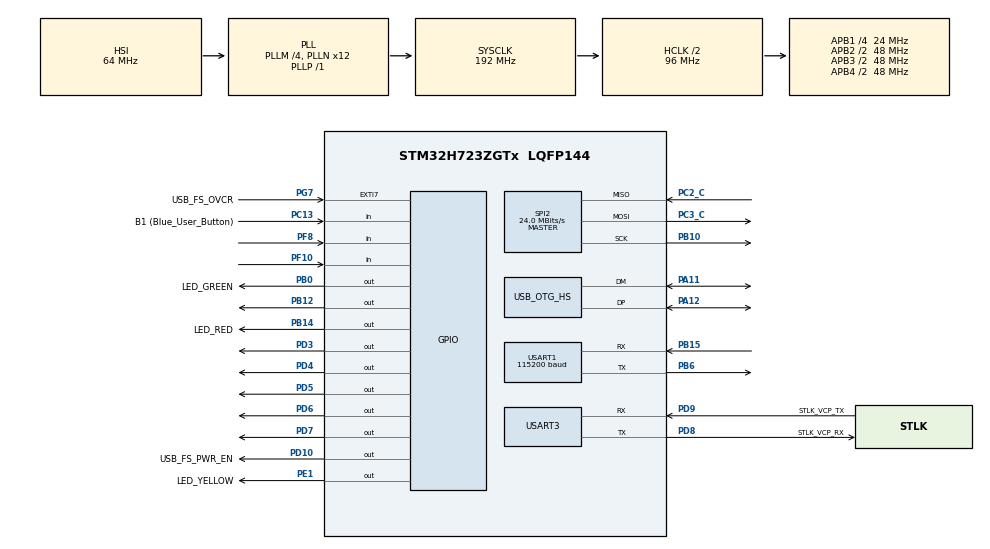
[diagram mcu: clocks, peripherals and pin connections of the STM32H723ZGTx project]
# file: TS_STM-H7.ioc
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Dma.Request0=USART1_RX
Dma.Request1=USART1_TX
Dma.Request2=SPI2_RX
Dma.SPI2_RX.2.Direction=DMA_PERIPH_TO_MEMORY
Dma.SPI2_RX.2.EventEnable=DISABLE
Dma.SPI2_RX.2.FIFOMode=DMA_FIFOMODE_ENABLE
Dma.SPI2_RX.2.FIFOThreshold=DMA_FIFO_THRESHOLD_FULL
Dma.SPI2_RX.2.Instance=DMA1_Stream2
Dma.SPI2_RX.2.MemBurst=DMA_MBURST_SINGLE
Dma.SPI2_RX.2.MemDataAlignment=DMA_MDATAALIGN_BYTE
Dma.SPI2_RX.2.MemInc=DMA_MINC_ENABLE
Dma.SPI2_RX.2.Mode=DMA_CIRCULAR
Dma.SPI2_RX.2.PeriphBurst=DMA_PBURST_SINGLE
Dma.SPI2_RX.2.PeriphDataAlignment=DMA_PDATAALIGN_BYTE
Dma.SPI2_RX.2.PeriphInc=DMA_PINC_DISABLE
Dma.SPI2_RX.2.Polarity=HAL_DMAMUX_REQ_GEN_RISING
Dma.SPI2_RX.2.Priority=DMA_PRIORITY_LOW
Dma.SPI2_RX.2.RequestNumber=1
Dma.SPI2_RX.2.SignalID=NONE
Dma.SPI2_RX.2.SyncEnable=DISABLE
Dma.SPI2_RX.2.SyncPolarity=HAL_DMAMUX_SYNC_NO_EVENT
Dma.SPI2_RX.2.SyncRequestNumber=1
Dma.SPI2_RX.2.SyncSignalID=NONE
Dma.USART1_RX.0.Direction=DMA_PERIPH_TO_MEMORY
Dma.USART1_RX.0.EventEnable=DISABLE
Dma.USART1_RX.0.FIFOMode=DMA_FIFOMODE_DISABLE
Dma.USART1_RX.0.Instance=DMA1_Stream0
Dma.USART1_RX.0.MemDataAlignment=DMA_MDATAALIGN_BYTE
Dma.USART1_RX.0.MemInc=DMA_MINC_ENABLE
Dma.USART1_RX.0.Mode=DMA_NORMAL
Dma.USART1_RX.0.PeriphDataAlignment=DMA_PDATAALIGN_BYTE
Dma.USART1_RX.0.PeriphInc=DMA_PINC_DISABLE
Dma.USART1_RX.0.Polarity=HAL_DMAMUX_REQ_GEN_RISING
Dma.USART1_RX.0.Priority=DMA_PRIORITY_HIGH
Dma.USART1_RX.0.RequestNumber=1
Dma.USART1_RX.0.SignalID=NONE
Dma.USART1_RX.0.SyncEnable=DISABLE
Dma.USART1_RX.0.SyncPolarity=HAL_DMAMUX_SYNC_NO_EVENT
Dma.USART1_RX.0.SyncRequestNumber=1
Dma.USART1_RX.0.SyncSignalID=NONE
Dma.USART1_TX.1.Direction=DMA_MEMORY_TO_PERIPH
Dma.USART1_TX.1.EventEnable=DISABLE
Dma.USART1_TX.1.FIFOMode=DMA_FIFOMODE_DISABLE
Dma.USART1_TX.1.Instance=DMA1_Stream1
Dma.USART1_TX.1.MemDataAlignment=DMA_MDATAALIGN_BYTE
Dma.USART1_TX.1.MemInc=DMA_MINC_ENABLE
Dma.USART1_TX.1.Mode=DMA_NORMAL
Dma.USART1_TX.1.PeriphDataAlignment=DMA_PDATAALIGN_BYTE
Dma.USART1_TX.1.PeriphInc=DMA_PINC_DISABLE
Dma.USART1_TX.1.Polarity=HAL_DMAMUX_REQ_GEN_RISING
Dma.USART1_TX.1.Priority=DMA_PRIORITY_LOW
Dma.USART1_TX.1.RequestNumber=1
Dma.USART1_TX.1.SignalID=NONE
Dma.USART1_TX.1.SyncEnable=DISABLE
Dma.USART1_TX.1.SyncPolarity=HAL_DMAMUX_SYNC_NO_EVENT
Dma.USART1_TX.1.SyncRequestNumber=1
Dma.USART1_TX.1.SyncSignalID=NONE
FATFS._MAX_SS=4096
FATFS._USE_LFN=1
Mcu.Family=STM32H7
Mcu.Name=STM32H723ZGTx
Mcu.Package=LQFP144
NVIC.DMA1_Stream0_IRQn=true\:0\:0\:false\:false\:true\:false\:true\:true
NVIC.DMA1_Stream1_IRQn=true\:0\:0\:false\:false\:true\:false\:true\:true
NVIC.DMA1_Stream2_IRQn=true\:0\:0\:false\:false\:true\:false\:true\:true
NVIC.OTG_HS_IRQn=true\:0\:0\:false\:false\:true\:false\:true\:true
NVIC.PriorityGroup=NVIC_PRIORITYGROUP_4
NVIC.SPI2_IRQn=true\:0\:0\:false\:false\:true\:false\:true\:true
NVIC.TIM16_IRQn=true\:0\:0\:false\:false\:true\:true\:true\:true
NVIC.USART1_IRQn=true\:0\:0\:false\:false\:true\:true\:true\:true
PA1.GPIO_Label=RMII_REF_CLK
PA1.Signal=ETH_REF_CLK
PA10.GPIO_Label=USB_FS_ID
PA10.Signal=USB_OTG_HS_ID
PA11.Mode=Device_Only_FS
PA11.Signal=USB_OTG_HS_DM
PA12.Mode=Device_Only_FS
PA12.Signal=USB_OTG_HS_DP
PA13(JTMS/SWDIO).GPIO_Label=SWDIO
PA13(JTMS/SWDIO).Signal=DEBUG_JTMS-SWDIO
PA14(JTCK/SWCLK).GPIO_Label=SWCLK
PA14(JTCK/SWCLK).Signal=DEBUG_JTCK-SWCLK
PA2.GPIO_Label=RMII_MDIO
PA2.Signal=ETH_MDIO
PA7.GPIO_Label=RMII_CRS_DV
PA7.Signal=ETH_CRS_DV
PA9.GPIO_Label=USB_FS_VBUS
PA9.Signal=USB_OTG_HS_VBUS
PB0.GPIO_Label=LED_GREEN
PB0.Signal=GPIO_Output
PB10.Mode=Full_Duplex_Master
PB10.Signal=SPI2_SCK
PB12.Signal=GPIO_Output
PB13.GPIO_Label=RMII_TXD1
PB13.Signal=ETH_TXD1
PB14.GPIO_Label=LED_RED
PB14.Signal=GPIO_Output
PB15.Mode=Asynchronous
PB15.Signal=USART1_RX
PB3(JTDO/TRACESWO).GPIO_Label=SWO
PB3(JTDO/TRACESWO).Signal=DEBUG_JTDO-SWO
PB6.Mode=Asynchronous
PB6.Signal=USART1_TX
PC1.GPIO_Label=RMII_MDC
PC1.Signal=ETH_MDC
PC13.GPIO_Label=B1 (Blue_User_Button)
PC13.Signal=GPIO_Input
PC14-OSC32_IN.Signal=RCC_OSC32_IN
PC15-OSC32_OUT.Signal=RCC_OSC32_OUT
PC2_C.Mode=Full_Duplex_Master
PC2_C.Signal=SPI2_MISO
PC3_C.Mode=Full_Duplex_Master
PC3_C.Signal=SPI2_MOSI
PC4.GPIO_Label=RMII_RXD0
PC4.Signal=ETH_RXD0
PC5.GPIO_Label=RMII_RXD1
PC5.Signal=ETH_RXD1
PD10.GPIO_Label=USB_FS_PWR_EN
PD10.Signal=GPIO_Output
PD3.Signal=GPIO_Output
PD4.Signal=GPIO_Output
PD5.Signal=GPIO_Output
PD6.Signal=GPIO_Output
PD7.Signal=GPIO_Output
PD8.GPIO_Label=STLK_VCP_RX
PD8.Mode=Asynchronous
PD8.Signal=USART3_TX
PD9.GPIO_Label=STLK_VCP_TX
PD9.Mode=Asynchronous
PD9.Signal=USART3_RX
PE1.GPIO_Label=LED_YELLOW
PE1.Signal=GPIO_Output
PF10.GPIO_PuPd=GPIO_PULLUP
PF10.Signal=GPIO_Input
PF8.GPIO_PuPd=GPIO_PULLUP
PF8.Signal=GPIO_Input
PG11.GPIO_Label=RMII_TX_EN
PG11.Signal=ETH_TX_EN
PG13.GPIO_Label=RMII_TXD0
PG13.Signal=ETH_TXD0
PG7.GPIO_Label=USB_FS_OVCR
PG7.Signal=GPXTI7
PH0-OSC_IN.GPIO_Label=MCO
PH0-OSC_IN.Signal=RCC_OSC_IN
PH1-OSC_OUT.Signal=RCC_OSC_OUT
ProjectManager.HeapSize=0x200
ProjectManager.StackSize=0x400
ProjectManager.TargetToolchain=STM32CubeIDE
RCC.ADCFreq_Value=608000000
RCC.APB1Freq_Value=24000000
RCC.APB2Freq_Value=48000000
RCC.APB3Freq_Value=48000000
RCC.APB4Freq_Value=48000000
RCC.CortexFreq_Value=192000000
RCC.D1PPRE=RCC_APB3_DIV2
RCC.D2PPRE1=RCC_APB1_DIV4
RCC.D2PPRE2=RCC_APB2_DIV2
RCC.D3PPRE=RCC_APB4_DIV2
RCC.DIVM1=4
RCC.DIVM2=1
RCC.DIVN1=12
RCC.DIVN2=19
RCC.DIVP1=1
RCC.DIVQ1=4
RCC.HCLKFreq_Value=96000000
RCC.HPRE=RCC_HCLK_DIV2
RCC.HSE_VALUE=8000000
RCC.PLLFRACN=0
RCC.SYSCLKFreq_VALUE=192000000
RCC.SYSCLKSource=RCC_SYSCLKSOURCE_PLLCLK
RCC.USBCLockSelection=RCC_USBCLKSOURCE_HSI48
RCC.USBFreq_Value=48000000
SPI2.BaudRatePrescaler=SPI_BAUDRATEPRESCALER_2
SPI2.CalculateBaudRate=24.0 MBits/s
SPI2.DataSize=SPI_DATASIZE_8BIT
SPI2.Direction=SPI_DIRECTION_2LINES
SPI2.Mode=SPI_MODE_MASTER
SPI2.VirtualType=VM_MASTER
TIM16.Period=65535
TIM16.Prescaler=48000-1
USART1.BaudRate=115200
USART1.FIFOMode=FIFOMODE_DISABLE
USART1.OneBitSampling=UART_ONE_BIT_SAMPLE_ENABLE
USART1.VirtualMode-Asynchronous=VM_ASYNC
USART1.WordLength=WORDLENGTH_8B
USART3.VirtualMode-Asynchronous=VM_ASYNC
USB_DEVICE.CLASS_NAME_HS=CDC
USB_DEVICE.USBD_MAX_STR_DESC_SIZ=2048
USB_DEVICE.VirtualMode=Cdc
USB_DEVICE.VirtualModeHS=Cdc_HS
USB_OTG_HS.VirtualMode-Device_Only_FS=Device_Only_FS
VP_FATFS_VS_Generic.Mode=User_defined
VP_TIM16_VS_ClockSourceINT.Mode=Enable_Timer
VP_USB_DEVICE_VS_USB_DEVICE_CDC_HS.Mode=CDC_HS
board=NUCLEO-H723ZG

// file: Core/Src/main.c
/* USER CODE BEGIN Header */
/**
  ******************************************************************************
  * @file           : main.c
  * @brief          : Main program body
  ******************************************************************************
  * @attention
  *
  * Copyright (c) 2024 STMicroelectronics.
  * All rights reserved.
  *
  * This software is licensed under terms that can be found in the LICENSE file
  * in the root directory of this software component.
  * If no LICENSE file comes with this software, it is provided AS-IS.
  *
  ******************************************************************************
  */
/* USER CODE END Header */
#include "main.h"
#include "fatfs.h"
#include "usb_device.h"

/* USER CODE BEGIN Includes */
#include <stdio.h>
#include <string.h>
#include <stdbool.h>
#include <math.h>
#include <usbd_cdc_if.h>
#include <nuc_connection.h>
#include <total_station_interface.h>
/* USER CODE END Includes */

SPI_HandleTypeDef hspi2;
DMA_HandleTypeDef hdma_spi2_rx;

TIM_HandleTypeDef htim16;

UART_HandleTypeDef huart1;
UART_HandleTypeDef huart3;
DMA_HandleTypeDef hdma_usart1_rx;
DMA_HandleTypeDef hdma_usart1_tx;

/* USER CODE BEGIN PV */
#define 	UART_BUFFER_SIZE 64
#define 	STREAM_SIZE 130
//__IO uint8_t uartBuffer[UART_BUFFER_SIZE];
//char uartBuffer[UART_BUFFER_SIZE];
/* USER CODE END PV */

void SystemClock_Config(void);
static void MX_GPIO_Init(void);
static void MX_DMA_Init(void);
static void MX_USART3_UART_Init(void);
static void MX_SPI2_Init(void);
static void MX_USART1_UART_Init(void);
static void MX_TIM16_Init(void);
/* USER CODE BEGIN PFP */
void 		process_init_SD_card( void );
void 		process_circular_buffer(void);
void 		handle_complete_packet(void);
//void file_name_request(char file_name_request, uint8_t rx_usb);
/* USER CODE END PFP */

/* USER CODE BEGIN 0 */
FATFS   FatFs;                //Fatfs handle
FIL     fil;                  //File handle
FRESULT fres;                 //Result after operations
char    buf[100];
//char buffer_tx[UART_BUFFER_SIZE]="2~";
char 	*buffer_tx;
char 	*stream_sd_card;
uint8_t rx_usb[64];
int 	size_rx_usb=sizeof (rx_usb);
uint8_t uartBuffer[UART_BUFFER_SIZE];
//char *write_command=buffer;

//lista comandi
//char nome_file[16]="Prima_prova.txt";
//char 			ero_buffer[UART_BUFFER_SIZE];
char 			nome_file_txt[50];
extern char 	nome_file[50];
extern char 	*nuc_time_stamp;
extern char 	*complete_time_stamp;
extern char 	*time_stamp_TS_buffer;
extern char 	stop_stream_command;
extern uint8_t  ts_time_stamp_buffer[50];
extern uint32_t start_ritorno;

//char 	zero_buffer[UART_BUFFER_SIZE];
int 	stream_started_flag, saving_data_flag, start_stream_flag,measure_finished_flag=0;
int 	search_prism_flag, start_distance_flag, get_time_stamp_flag, change_file_flag, stop_measure_flag, stop_stream_complete=0;
int 	contatore_stream;
//char get_time_stamp_command[20];
//char client_time[10]="1603889027";
// init macchina a stati
int 	machine_state=1; //1 Ricerca Prisma // 2 Time Stamp // 3 Start Stream // 4 Stop Stream
//char machine_state;
int 	ctrl=1;
int 	receive_dma_complete=0;
int 	t_1;//client time2
int 	t_2,t_3;//
char 	buffer_read[16];
//char received_buffer[45];
char 	*trigger="%";
//char *tx_usb_to_nuc;
char 	progressive_number;
uint8_t *ptr_uart_buffer;
uint8_t stream_buffer[STREAM_SIZE];
uint8_t safe_buffer[STREAM_SIZE];
uint8_t previous_buffer[STREAM_SIZE];
uint8_t dma_buffer[STREAM_SIZE];  // Buffer per la ricezione DMA di un singolo byte
uint8_t circular_buffer[STREAM_SIZE];  // Buffer circolare
volatile uint16_t write_index = 0;  // Indice di scrittura del buffer circolare
volatile uint16_t read_index = 0;  // Indice di lettura del buffer circolare
uint8_t uart_data;
uint8_t buffer_index = 0;
uint8_t data_changed = 0;
int first_byte_received_of_time_stamp=0;

//char a
//char *tx_usb;
/* USER CODE END 0 */

int main(void)
{

  /* USER CODE BEGIN 1 */
  ptr_uart_buffer = (uint8_t *)&uartBuffer;

  /* USER CODE END 1 */

  /* MCU Configuration--------------------------------------------------------*/

  /* Reset of all peripherals, Initializes the Flash interface and the Systick. */
  HAL_Init();

  /* Configure the system clock */
  SystemClock_Config();

  /* Initialize all configured peripherals */
  MX_GPIO_Init();
  MX_DMA_Init();
  MX_USART3_UART_Init();
  MX_FATFS_Init();
  MX_SPI2_Init();
  MX_USART1_UART_Init();
  MX_USB_DEVICE_Init();
  MX_TIM16_Init();

  /* Infinite loop */
  /* USER CODE BEGIN WHILE */

  int num_file=0;
  int open_new_file=1;
  int nuc_connection=1;
  int change_file=0;
  int point_measured_per_file=0;
  //int max_point_per_file=20000;
  //int max_point_per_file=20000; // 107 byte a stream -- 20000x107= 2Mbyte per 66min (20000x0,2 sec = 66 min)
  memset((uint8_t *)&uartBuffer,1,UART_BUFFER_SIZE);
  //int timer_time_1;
  HAL_GPIO_TogglePin(GPIOE, GPIO_PIN_1);
  HAL_GPIO_WritePin(GPIOD, GPIO_PIN_7, SET); //Panel Green LED
  HAL_GPIO_WritePin(GPIOD, GPIO_PIN_6, RESET); //GND
  HAL_GPIO_WritePin(GPIOD, GPIO_PIN_5, RESET); //GND
  //HAL_GPIO_WritePin(GPIOD, GPIO_PIN_4, RESET); //Panel Yellow LED
  //HAL_GPIO_WritePin(GPIOD, GPIO_PIN_3, SET); //Panel Red LED
  //timer_time_1=0;
  //timer_time_2=0;

  while (1)
  {
    /* USER CODE END WHILE */

    /* USER CODE BEGIN 3 */

	  if (nuc_connection==1){
		  int wait_for_nuc_connection=1;
		  HAL_Delay(2000);
		  HAL_GPIO_WritePin(GPIOD, GPIO_PIN_7, RESET); //Panel Green LED
		  while (wait_for_nuc_connection==1){
		  if (HAL_GPIO_ReadPin(GPIOF, GPIO_PIN_8)==0){
			  wait_for_nuc_connection=0;
		  	  }
		  }
		  HAL_GPIO_WritePin(GPIOD, GPIO_PIN_7, SET); //Panel Green LED
		  get_file_name();

		  //get_file_name( rx_usb);
		  nuc_connection=0;
	  }
	  if (open_new_file==1){
		  memset(nome_file_txt,0,size_rx_usb);
		  //k=string(num_file);
		  //sprintf(nome_file, "var%d", numero_progressivo);
		  //printf(k,"%i",num_file);
		  sprintf(progressive_number, "_%d", num_file);
		  strcat(progressive_number,".txt");
		  memcpy(nome_file_txt,nome_file, sizeof(nome_file));
		  strcat(nome_file_txt,progressive_number);
		  printf("\n nome file %s \r\n",nome_file_txt);
		  //strcat(nome_file,".txt");
		  process_init_SD_card();
		  memset((uint8_t *)&rx_usb,0,size_rx_usb);
		  num_file++;
		  open_new_file=0;
	  }

	  // Prova macchina a stati
	  switch (machine_state)
	  	  {
	  	  case 1: // Search-Prism
	  	    {
	  	    	HAL_GPIO_WritePin(GPIOD, GPIO_PIN_7, RESET);
				search_prism_flag=1;
				break;
	  		}
	  	  case 2: // Start distance (Non viene fatto)
			{
				start_distance_flag=1;
				break;
			}
	  	  case 3: // Get-Time-Stamp
			{
				get_time_stamp_flag=1;
				break;
							}
	  	  case 4: //Start-Measure and Save Data
	  	  {
	  		    HAL_GPIO_WritePin(GPIOD, GPIO_PIN_7, RESET);
	  		  	HAL_GPIO_WritePin(GPIOD, GPIO_PIN_4, SET);
				start_stream_flag=1;
				break;
	  	  }
	  	  case 5: //Change file
		  {
			  	change_file_flag=1;
				break;
		  }
	  	  case 6: //Stop-Measure
		  {
			    HAL_GPIO_WritePin(GPIOD, GPIO_PIN_4, RESET);
			    HAL_GPIO_WritePin(GPIOD, GPIO_PIN_3, SET);
			    stop_measure_flag=1;
				break;
		  }
	  	  case 7: //Stop-Measure
		  {
				measure_finished_flag=1;
				break;
		  }
	  	  }

	  if (search_prism_flag==1){
		  search_prism(search_prism_flag);
		  search_prism_flag=0;
		  machine_state=3;
	  }
	  if (start_distance_flag==1){
		  start_distance();
		  start_distance_flag=0;
		  machine_state=3;
	  	  }
	  if (get_time_stamp_flag==1){
		  HAL_TIM_Base_Start(&htim16); //START TIMER
		  ForTime value= get_TS_time_stamp();
		  printf("Tempo di andata=%i  Tempo di ritorno= %i  delta_time=%i  tempo_rit_comp=%i \n" , value.a,value.b,value.c, value.d);
		  //fputs("Tempo di andata= \n",&fil);
		  //fputs(value.a,&fil);
		  //fputs("\n Tempo di ritorno= \n",&fil);
		  //fputs(value.b,&fil);
		  stream_sd_card=(char *)time_stamp_TS_buffer;
		  f_puts(stream_sd_card, &fil);
		  strcat(complete_time_stamp,"\r\n");
		  stream_sd_card=(char *)complete_time_stamp;
		  f_puts(stream_sd_card, &fil);
		  get_time_stamp_flag=0;
		  stream_started_flag=0;
		  f_close(&fil);
		  machine_state=4;
		  //HAL_Delay(5000);
		  //f_close(&fil);
	  	  }
	  if (start_stream_flag==1){
		   if (stream_started_flag==0){
			   //HAL_Delay(5000);
			   //fres = f_open(&fil,nome_file_txt, FA_WRITE | FA_OPEN_APPEND);
			   start_measure();
			   stream_started_flag=1;
		   }
		   //HAL_UART_Receive_IT(&huart1, (uint8_t *)&stream_buffer, 104);
		   //HAL_UART_Receive_DMA(&huart1, (uint8_t *)&stream_buffer, STREAM_SIZE);
		   //HAL_UART_Receive_DMA(&huart1, dma_buffer, STREAM_SIZE);
		   contatore_stream=0;
		   point_measured_per_file=0;
		   //HAL_UARTEx_ReceiveToIdle_DMA(&huart1, dma_buffer, STREAM_SIZE);
		   //HAL_UART_Receive_DMA(&huart1, (uint8_t *)&stream_buffer, STREAM_SIZE);
		   //HAL_UARTEx_GetRxEventType(&huart1);
		   //__HAL_DMA_DISABLE_IT();
		   fres = f_open(&fil,nome_file_txt, FA_WRITE | FA_OPEN_APPEND);
		   while (start_stream_flag==1 && change_file==0){

			   HAL_UARTEx_ReceiveToIdle_IT(&huart1, dma_buffer, STREAM_SIZE);
			   /*
			   HAL_UART_Receive_IT(&huart1, dma_buffer, STREAM_SIZE);
			   if (__HAL_TIM_GET_COUNTER(&htim16) - timer_time_1 >= (uint16_t) 100){ // con 100  non funziona, con 101 ricevo troppi byte
					timer_time_1=__HAL_TIM_GET_COUNTER(&htim16);
					HAL_UART_AbortReceive_IT(&huart1);
			   	}
			    */
			   if (receive_dma_complete==1){
				   handle_complete_packet();
				   point_measured_per_file++;

			   }
			   //HAL_GPIO_TogglePin(GPIOE, GPIO_PIN_1);

			   	   	//if (__HAL_TIM_GET_COUNTER(&htim16) - timer_time_1 >= (uint16_t) 300  && HAL_UART_Receive_DMA(&huart1, (uint8_t *)&stream_buffer, STREAM_SIZE) != HAL_BUSY){

						//timer_time_1=__HAL_TIM_GET_COUNTER(&htim16);
			   	   //	}
					if (HAL_GPIO_ReadPin(GPIOF, GPIO_PIN_8)==0){
						stop_measure();
						HAL_GPIO_WritePin(GPIOB, GPIO_PIN_0, RESET); //G
						HAL_GPIO_WritePin(GPIOE, GPIO_PIN_1, RESET); //Y
						start_stream_flag=0;
						machine_state=6;
					}

					// al momento non è implementata la logica cambio file ( non durerà tanto da superare 1GB di file)
					/*
					if (point_measured_per_file==max_point_per_file){
						point_measured_per_file=0;
						HAL_GPIO_WritePin(GPIOB, GPIO_PIN_0, RESET); //G
						HAL_GPIO_WritePin(GPIOE, GPIO_PIN_1, RESET); //Y
						//change_file=1;
						//machine_state=5;
						start_stream_flag=0;
						machine_state=6;
						//HAL_GPIO_TogglePin(GPIOB, GPIO_PIN_14);
					}*/
				}
	  }
	  if (stop_measure_flag==1){
		  HAL_GPIO_WritePin(GPIOB, GPIO_PIN_14, SET); //R
		  printf("\nClosing file\r\n");
		  f_close(&fil); // close file.txt
		  start_stream_flag=0;
		  machine_state=7;
		  stop_measure_flag=0;
	  }
	 if  (change_file_flag==1){
		  printf("\nClosing file\r\n");
		  f_close(&fil); // close file.txt
		  HAL_GPIO_TogglePin(GPIOB, GPIO_PIN_0); // LED_GREEN
		  //start_stream_flag=1;
		  open_new_file=1;
		  machine_state=4;
	  }
	 if  (measure_finished_flag==1){
		  HAL_Delay(1000);
		  NVIC_SystemReset();
	 	  }

	} //END WHILE LOOP
  /* USER CODE END 3 */
}

void SystemClock_Config(void)
{
  RCC_OscInitTypeDef RCC_OscInitStruct = {0};
  RCC_ClkInitTypeDef RCC_ClkInitStruct = {0};

  /** Supply configuration update enable
  */
  HAL_PWREx_ConfigSupply(PWR_LDO_SUPPLY);

  /** Configure the main internal regulator output voltage
  */
  __HAL_PWR_VOLTAGESCALING_CONFIG(PWR_REGULATOR_VOLTAGE_SCALE2);

  while(!__HAL_PWR_GET_FLAG(PWR_FLAG_VOSRDY)) {}

  /** Initializes the RCC Oscillators according to the specified parameters
  * in the RCC_OscInitTypeDef structure.
  */
  RCC_OscInitStruct.OscillatorType = RCC_OSCILLATORTYPE_HSI48|RCC_OSCILLATORTYPE_HSI;
  RCC_OscInitStruct.HSIState = RCC_HSI_DIV1;
  RCC_OscInitStruct.HSICalibrationValue = 64;
  RCC_OscInitStruct.HSI48State = RCC_HSI48_ON;
  RCC_OscInitStruct.PLL.PLLState = RCC_PLL_ON;
  RCC_OscInitStruct.PLL.PLLSource = RCC_PLLSOURCE_HSI;
  RCC_OscInitStruct.PLL.PLLM = 4;
  RCC_OscInitStruct.PLL.PLLN = 12;
  RCC_OscInitStruct.PLL.PLLP = 1;
  RCC_OscInitStruct.PLL.PLLQ = 4;
  RCC_OscInitStruct.PLL.PLLR = 2;
  RCC_OscInitStruct.PLL.PLLRGE = RCC_PLL1VCIRANGE_3;
  RCC_OscInitStruct.PLL.PLLVCOSEL = RCC_PLL1VCOWIDE;
  RCC_OscInitStruct.PLL.PLLFRACN = 0;
  if (HAL_RCC_OscConfig(&RCC_OscInitStruct) != HAL_OK)
  {
    Error_Handler();
  }

  /** Initializes the CPU, AHB and APB buses clocks
  */
  RCC_ClkInitStruct.ClockType = RCC_CLOCKTYPE_HCLK|RCC_CLOCKTYPE_SYSCLK
                              |RCC_CLOCKTYPE_PCLK1|RCC_CLOCKTYPE_PCLK2
                              |RCC_CLOCKTYPE_D3PCLK1|RCC_CLOCKTYPE_D1PCLK1;
  RCC_ClkInitStruct.SYSCLKSource = RCC_SYSCLKSOURCE_PLLCLK;
  RCC_ClkInitStruct.SYSCLKDivider = RCC_SYSCLK_DIV1;
  RCC_ClkInitStruct.AHBCLKDivider = RCC_HCLK_DIV2;
  RCC_ClkInitStruct.APB3CLKDivider = RCC_APB3_DIV2;
  RCC_ClkInitStruct.APB1CLKDivider = RCC_APB1_DIV4;
  RCC_ClkInitStruct.APB2CLKDivider = RCC_APB2_DIV2;
  RCC_ClkInitStruct.APB4CLKDivider = RCC_APB4_DIV2;

  if (HAL_RCC_ClockConfig(&RCC_ClkInitStruct, FLASH_LATENCY_1) != HAL_OK)
  {
    Error_Handler();
  }
}

static void MX_SPI2_Init(void)
{

  /* SPI2 parameter configuration*/
  hspi2.Instance = SPI2;
  hspi2.Init.Mode = SPI_MODE_MASTER;
  hspi2.Init.Direction = SPI_DIRECTION_2LINES;
  hspi2.Init.DataSize = SPI_DATASIZE_8BIT;
  hspi2.Init.CLKPolarity = SPI_POLARITY_LOW;
  hspi2.Init.CLKPhase = SPI_PHASE_1EDGE;
  hspi2.Init.NSS = SPI_NSS_SOFT;
  hspi2.Init.BaudRatePrescaler = SPI_BAUDRATEPRESCALER_2;
  hspi2.Init.FirstBit = SPI_FIRSTBIT_MSB;
  hspi2.Init.TIMode = SPI_TIMODE_DISABLE;
  hspi2.Init.CRCCalculation = SPI_CRCCALCULATION_DISABLE;
  hspi2.Init.CRCPolynomial = 0x0;
  hspi2.Init.NSSPMode = SPI_NSS_PULSE_ENABLE;
  hspi2.Init.NSSPolarity = SPI_NSS_POLARITY_LOW;
  hspi2.Init.FifoThreshold = SPI_FIFO_THRESHOLD_01DATA;
  hspi2.Init.TxCRCInitializationPattern = SPI_CRC_INITIALIZATION_ALL_ZERO_PATTERN;
  hspi2.Init.RxCRCInitializationPattern = SPI_CRC_INITIALIZATION_ALL_ZERO_PATTERN;
  hspi2.Init.MasterSSIdleness = SPI_MASTER_SS_IDLENESS_00CYCLE;
  hspi2.Init.MasterInterDataIdleness = SPI_MASTER_INTERDATA_IDLENESS_00CYCLE;
  hspi2.Init.MasterReceiverAutoSusp = SPI_MASTER_RX_AUTOSUSP_DISABLE;
  hspi2.Init.MasterKeepIOState = SPI_MASTER_KEEP_IO_STATE_DISABLE;
  hspi2.Init.IOSwap = SPI_IO_SWAP_DISABLE;
  if (HAL_SPI_Init(&hspi2) != HAL_OK)
  {
    Error_Handler();
  }

}

static void MX_TIM16_Init(void)
{

  htim16.Instance = TIM16;
  htim16.Init.Prescaler = 48000-1;
  htim16.Init.CounterMode = TIM_COUNTERMODE_UP;
  htim16.Init.Period = 65535;
  htim16.Init.ClockDivision = TIM_CLOCKDIVISION_DIV1;
  htim16.Init.RepetitionCounter = 0;
  htim16.Init.AutoReloadPreload = TIM_AUTORELOAD_PRELOAD_DISABLE;
  if (HAL_TIM_Base_Init(&htim16) != HAL_OK)
  {
    Error_Handler();
  }

}

static void MX_USART1_UART_Init(void)
{

  huart1.Instance = USART1;
  huart1.Init.BaudRate = 115200;
  huart1.Init.WordLength = UART_WORDLENGTH_8B;
  huart1.Init.StopBits = UART_STOPBITS_1;
  huart1.Init.Parity = UART_PARITY_NONE;
  huart1.Init.Mode = UART_MODE_TX_RX;
  huart1.Init.HwFlowCtl = UART_HWCONTROL_NONE;
  huart1.Init.OverSampling = UART_OVERSAMPLING_16;
  huart1.Init.OneBitSampling = UART_ONE_BIT_SAMPLE_ENABLE;
  huart1.Init.ClockPrescaler = UART_PRESCALER_DIV1;
  huart1.AdvancedInit.AdvFeatureInit = UART_ADVFEATURE_NO_INIT;
  if (HAL_UART_Init(&huart1) != HAL_OK)
  {
    Error_Handler();
  }
  if (HAL_UARTEx_SetTxFifoThreshold(&huart1, UART_TXFIFO_THRESHOLD_1_8) != HAL_OK)
  {
    Error_Handler();
  }
  if (HAL_UARTEx_SetRxFifoThreshold(&huart1, UART_RXFIFO_THRESHOLD_1_8) != HAL_OK)
  {
    Error_Handler();
  }
  if (HAL_UARTEx_DisableFifoMode(&huart1) != HAL_OK)
  {
    Error_Handler();
  }

}

static void MX_USART3_UART_Init(void)
{

  huart3.Instance = USART3;
  huart3.Init.BaudRate = 115200;
  huart3.Init.WordLength = UART_WORDLENGTH_8B;
  huart3.Init.StopBits = UART_STOPBITS_1;
  huart3.Init.Parity = UART_PARITY_NONE;
  huart3.Init.Mode = UART_MODE_TX_RX;
  huart3.Init.HwFlowCtl = UART_HWCONTROL_NONE;
  huart3.Init.OverSampling = UART_OVERSAMPLING_16;
  huart3.Init.OneBitSampling = UART_ONE_BIT_SAMPLE_DISABLE;
  huart3.Init.ClockPrescaler = UART_PRESCALER_DIV1;
  huart3.AdvancedInit.AdvFeatureInit = UART_ADVFEATURE_NO_INIT;
  if (HAL_UART_Init(&huart3) != HAL_OK)
  {
    Error_Handler();
  }
  if (HAL_UARTEx_SetTxFifoThreshold(&huart3, UART_TXFIFO_THRESHOLD_1_8) != HAL_OK)
  {
    Error_Handler();
  }
  if (HAL_UARTEx_SetRxFifoThreshold(&huart3, UART_RXFIFO_THRESHOLD_1_8) != HAL_OK)
  {
    Error_Handler();
  }
  if (HAL_UARTEx_DisableFifoMode(&huart3) != HAL_OK)
  {
    Error_Handler();
  }

}

static void MX_DMA_Init(void)
{

  /* DMA controller clock enable */
  __HAL_RCC_DMA1_CLK_ENABLE();

  /* DMA interrupt init */
  /* DMA1_Stream0_IRQn interrupt configuration */
  HAL_NVIC_SetPriority(DMA1_Stream0_IRQn, 0, 0);
  HAL_NVIC_EnableIRQ(DMA1_Stream0_IRQn);
  /* DMA1_Stream1_IRQn interrupt configuration */
  HAL_NVIC_SetPriority(DMA1_Stream1_IRQn, 0, 0);
  HAL_NVIC_EnableIRQ(DMA1_Stream1_IRQn);
  /* DMA1_Stream2_IRQn interrupt configuration */
  HAL_NVIC_SetPriority(DMA1_Stream2_IRQn, 0, 0);
  HAL_NVIC_EnableIRQ(DMA1_Stream2_IRQn);

}

static void MX_GPIO_Init(void)
{
  GPIO_InitTypeDef GPIO_InitStruct = {0};

  /* GPIO Ports Clock Enable */
  __HAL_RCC_GPIOC_CLK_ENABLE();
  __HAL_RCC_GPIOF_CLK_ENABLE();
  __HAL_RCC_GPIOH_CLK_ENABLE();
  __HAL_RCC_GPIOA_CLK_ENABLE();
  __HAL_RCC_GPIOB_CLK_ENABLE();
  __HAL_RCC_GPIOD_CLK_ENABLE();
  __HAL_RCC_GPIOG_CLK_ENABLE();
  __HAL_RCC_GPIOE_CLK_ENABLE();

  /*Configure GPIO pin Output Level */
  HAL_GPIO_WritePin(GPIOB, LED_GREEN_Pin|GPIO_PIN_12|LED_RED_Pin, GPIO_PIN_RESET);

  /*Configure GPIO pin Output Level */
  HAL_GPIO_WritePin(GPIOD, USB_FS_PWR_EN_Pin|GPIO_PIN_3|GPIO_PIN_4|GPIO_PIN_5
                          |GPIO_PIN_6|GPIO_PIN_7, GPIO_PIN_RESET);

  /*Configure GPIO pin Output Level */
  HAL_GPIO_WritePin(LED_YELLOW_GPIO_Port, LED_YELLOW_Pin, GPIO_PIN_RESET);

  /*Configure GPIO pin : B1_Pin */
  GPIO_InitStruct.Pin = B1_Pin;
  GPIO_InitStruct.Mode = GPIO_MODE_INPUT;
  GPIO_InitStruct.Pull = GPIO_NOPULL;
  HAL_GPIO_Init(B1_GPIO_Port, &GPIO_InitStruct);

  /*Configure GPIO pins : PF8 PF10 */
  GPIO_InitStruct.Pin = GPIO_PIN_8|GPIO_PIN_10;
  GPIO_InitStruct.Mode = GPIO_MODE_IT_FALLING;//GPIO_InitStruct.Mode = GPIO_MODE_INPUT; AC modifica 02/07/2024
  GPIO_InitStruct.Pull = GPIO_PULLUP;
  HAL_GPIO_Init(GPIOF, &GPIO_InitStruct);

  /*Configure GPIO pins : RMII_MDC_Pin RMII_RXD0_Pin RMII_RXD1_Pin */
  GPIO_InitStruct.Pin = RMII_MDC_Pin|RMII_RXD0_Pin|RMII_RXD1_Pin;
  GPIO_InitStruct.Mode = GPIO_MODE_AF_PP;
  GPIO_InitStruct.Pull = GPIO_NOPULL;
  GPIO_InitStruct.Speed = GPIO_SPEED_FREQ_LOW;
  GPIO_InitStruct.Alternate = GPIO_AF11_ETH;
  HAL_GPIO_Init(GPIOC, &GPIO_InitStruct);

  /*Configure GPIO pins : RMII_REF_CLK_Pin RMII_MDIO_Pin RMII_CRS_DV_Pin */
  GPIO_InitStruct.Pin = RMII_REF_CLK_Pin|RMII_MDIO_Pin|RMII_CRS_DV_Pin;
  GPIO_InitStruct.Mode = GPIO_MODE_AF_PP;
  GPIO_InitStruct.Pull = GPIO_NOPULL;
  GPIO_InitStruct.Speed = GPIO_SPEED_FREQ_LOW;
  GPIO_InitStruct.Alternate = GPIO_AF11_ETH;
  HAL_GPIO_Init(GPIOA, &GPIO_InitStruct);

  /*Configure GPIO pins : LED_GREEN_Pin PB12 LED_RED_Pin */
  GPIO_InitStruct.Pin = LED_GREEN_Pin|GPIO_PIN_12|LED_RED_Pin;
  GPIO_InitStruct.Mode = GPIO_MODE_OUTPUT_PP;
  GPIO_InitStruct.Pull = GPIO_NOPULL;
  GPIO_InitStruct.Speed = GPIO_SPEED_FREQ_LOW;
  HAL_GPIO_Init(GPIOB, &GPIO_InitStruct);

  /*Configure GPIO pin : RMII_TXD1_Pin */
  GPIO_InitStruct.Pin = RMII_TXD1_Pin;
  GPIO_InitStruct.Mode = GPIO_MODE_AF_PP;
  GPIO_InitStruct.Pull = GPIO_NOPULL;
  GPIO_InitStruct.Speed = GPIO_SPEED_FREQ_LOW;
  GPIO_InitStruct.Alternate = GPIO_AF11_ETH;
  HAL_GPIO_Init(RMII_TXD1_GPIO_Port, &GPIO_InitStruct);

  /*Configure GPIO pins : USB_FS_PWR_EN_Pin PD3 PD4 PD5
                           PD6 PD7 */
  GPIO_InitStruct.Pin = USB_FS_PWR_EN_Pin|GPIO_PIN_3|GPIO_PIN_4|GPIO_PIN_5
                          |GPIO_PIN_6|GPIO_PIN_7;
  GPIO_InitStruct.Mode = GPIO_MODE_OUTPUT_PP;
  GPIO_InitStruct.Pull = GPIO_NOPULL;
  GPIO_InitStruct.Speed = GPIO_SPEED_FREQ_LOW;
  HAL_GPIO_Init(GPIOD, &GPIO_InitStruct);

  /*Configure GPIO pin : USB_FS_OVCR_Pin */
  GPIO_InitStruct.Pin = USB_FS_OVCR_Pin;
  GPIO_InitStruct.Mode = GPIO_MODE_IT_RISING;
  GPIO_InitStruct.Pull = GPIO_NOPULL;
  HAL_GPIO_Init(USB_FS_OVCR_GPIO_Port, &GPIO_InitStruct);

  /*Configure GPIO pins : RMII_TX_EN_Pin RMII_TXD0_Pin */
  GPIO_InitStruct.Pin = RMII_TX_EN_Pin|RMII_TXD0_Pin;
  GPIO_InitStruct.Mode = GPIO_MODE_AF_PP;
  GPIO_InitStruct.Pull = GPIO_NOPULL;
  GPIO_InitStruct.Speed = GPIO_SPEED_FREQ_LOW;
  GPIO_InitStruct.Alternate = GPIO_AF11_ETH;
  HAL_GPIO_Init(GPIOG, &GPIO_InitStruct);

  /*Configure GPIO pin : LED_YELLOW_Pin */
  GPIO_InitStruct.Pin = LED_YELLOW_Pin;
  GPIO_InitStruct.Mode = GPIO_MODE_OUTPUT_PP;
  GPIO_InitStruct.Pull = GPIO_NOPULL;
  GPIO_InitStruct.Speed = GPIO_SPEED_FREQ_LOW;
  HAL_GPIO_Init(LED_YELLOW_GPIO_Port, &GPIO_InitStruct);

}

/* USER CODE BEGIN 4 */
void HAL_UART_RxCpltCallback(UART_HandleTypeDef *huart)
{
    // Check if it's the first byte received
    if (first_byte_received_of_time_stamp == 0)
    {
    	first_byte_received_of_time_stamp = 1;
    	//start_ritorno = __HAL_TIM_GET_COUNTER(&htim16);
        //first_byte_timestamp = HAL_GetTick();  // Get the timestamp (in milliseconds since HAL initialization)
    }

    // Continue with normal data processing
    HAL_UART_Receive_IT(&huart1, (uint8_t *)&ts_time_stamp_buffer, 43);
}

void HAL_UARTEx_RxEventCallback(UART_HandleTypeDef *huart, uint16_t Size) {
	if (huart->Instance == USART1) {  // Controlla che sia la tua UART
			//stream_sd_card=(char *)dma_buffer;

			memcpy(stream_sd_card,(char *)dma_buffer, sizeof(dma_buffer));
			contatore_stream++;
			//printf("\n %i Stream DMA Buffer  %s \r\n",contatore_stream,dma_buffer);
	        // Riavvia la ricezione DMA per un altro byte
	        HAL_UARTEx_ReceiveToIdle_IT(&huart1, dma_buffer, STREAM_SIZE);
	        receive_dma_complete=1;

	}
}

// Implementa la logica per processare il pacchetto completo
void handle_complete_packet(void) {

	//HAL_GPIO_TogglePin(GPIOB, GPIO_PIN_0);
	//fres = f_open(&fil,nome_file_txt, FA_WRITE | FA_OPEN_APPEND);
	f_puts(stream_sd_card, &fil);
	//f_close(&fil);
	printf("\n %i Stream SD Card  %s \r\n",contatore_stream,stream_sd_card);
	memset(dma_buffer,0,STREAM_SIZE);
	receive_dma_complete=0;

}

#ifdef __GNUC__
  /* With GCC, small printf (option LD Linker->Libraries->Small printf
     set to 'Yes') calls __io_putchar() */
int __io_putchar(int ch)
#else
int fputc(int ch, FILE *f)
#endif /* __GNUC__ */
{
  /* Place your implementation of fputc here */
  /* e.g. write a character to the UART3 and Loop until the end of transmission */
  HAL_UART_Transmit(&huart3, (uint8_t *)&ch, 1, HAL_MAX_DELAY);
  return ch;
}
/**/
void process_init_SD_card( void )
{
	/* Tolti e messi a comune. AC in data 24/04/2024
  FATFS       FatFs;                //Fatfs handle
  FIL         fil;                  //File handle
  FRESULT     fres;                 //Result after operations
  char        buf[100];
	 */
  do
  {
    //Mount the SD Card
    fres = f_mount(&FatFs, "1", 0);    //1=mount now
    if (fres != FR_OK)
    {
      printf("No SD Card found : (%i)\r\n", fres);
      SD_error_message();
      NVIC_SystemReset();
      //return;//break;
    }
    printf("SD Card Mounted Successfully!!!\r\n");

    //Read the SD Card Total size and Free Size
    FATFS *pfs;
    DWORD fre_clust;
    uint32_t totalSpace, freeSpace;

    f_getfree("1", &fre_clust, &pfs);
    totalSpace = (uint32_t)((pfs->n_fatent - 2) * pfs->csize * 0.5);
    freeSpace = (uint32_t)(fre_clust * pfs->csize * 0.5);

    printf("TotalSpace : %lu bytes, FreeSpace = %lu bytes\r\n", totalSpace, freeSpace);
    //Open the file
    fres = f_open(&fil, nome_file_txt, FA_WRITE | FA_READ | FA_CREATE_ALWAYS);
    if(fres != FR_OK){
		  printf("File creation/open Error : (%i)\r\n", fres);
		  SD_error_message();
		  NVIC_SystemReset();
		  //return; //invece di break
    }
    /*
    //Open the file
    fres = f_open(&fil, nome_file, FA_WRITE | FA_READ | FA_CREATE_ALWAYS);
    if(fres != FR_OK)
    {
      printf("File creation/open Error : (%i)\r\n", fres);
     break;
    }

    printf("Writing data!!!\r\n");
    //write the data
    //f_puts("Welcome to EmbeTronicX", &fil);
    f_puts(stop_distance_command, &fil);
    f_puts("\n", &fil);
    f_puts(complete_prism_search_command, &fil);
    //close your file
    f_close(&fil);

    //Open the file
    fres = f_open(&fil, nome_file, FA_READ);
    if(fres != FR_OK)
    {
      printf("File opening Error : (%i)\r\n", fres);
      break;
    }

    //read the data
    f_gets(buf, sizeof(buf), &fil);

    printf("Read Data : %s\r\n", buf);

    //close your file
    f_close(&fil);
    printf("Closing File!!!\r\n");
#if 0
    //Delete the file.
    fres = f_unlink(EmbeTronicX.txt);
    if (fres != FR_OK)
    {
      printf("Cannot able to delete the file\n");
    }
#endif
*/
  } while( false );
  /*
  //We're done, so de-mount the drive
  f_mount(NULL, "", 0);
  printf("SD Card Unmounted Successfully!!!\r\n");
  */
}

/* USER CODE END 4 */

void Error_Handler(void)
{
  __disable_irq();
  while (1)
  {
  }
}
